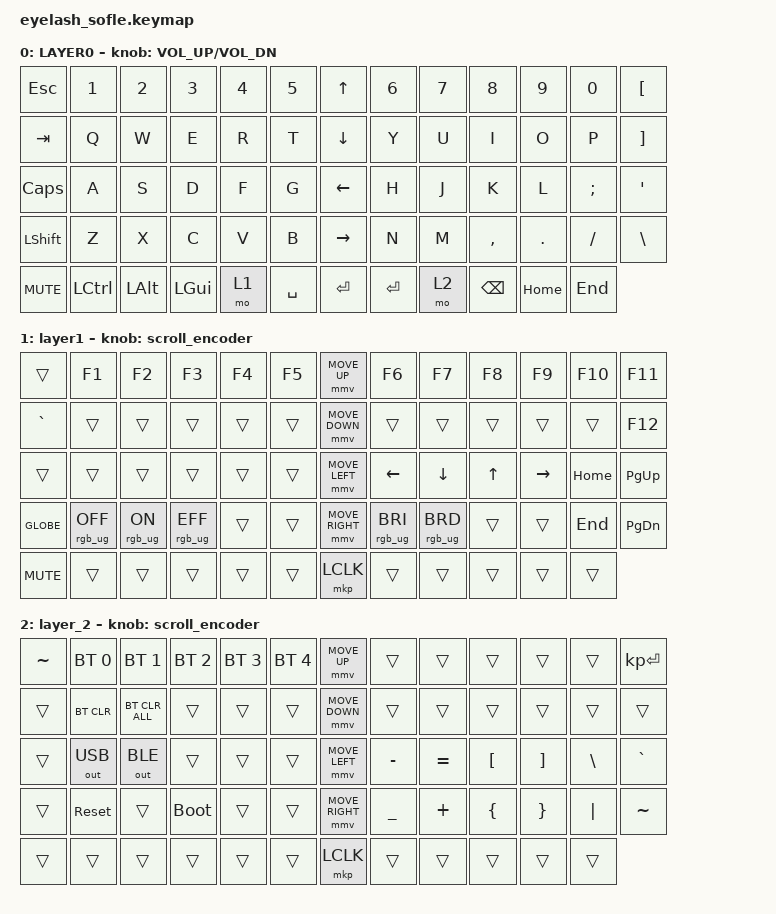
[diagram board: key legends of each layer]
#include <behaviors.dtsi>
#include <dt-bindings/zmk/bt.h>
#include <dt-bindings/zmk/keys.h>
#include <dt-bindings/zmk/mouse.h>
#include <dt-bindings/zmk/outputs.h>
#include <dt-bindings/zmk/rgb.h>

#include <input/processors.dtsi>

/*

   &mmv_input_listener {
       input-processors = <&zip_xy_scaler 2 1>;
   };

   &msc_input_listener {
       input-processors = <&zip_xy_scaler 2 1>;
   };

 */

#define ZMK_MOUSE_DEFAULT_MOVE_VAL 1200  // 600
#define ZMK_MOUSE_DEFAULT_SCRL_VAL 20    // 10


/ {
    behaviors {
        mmv {
            acceleration-exponent = <1>;      // 1
            time-to-max-speed-ms = <900>;    // 40
            delay-ms = <0>;                   // 0
        };

        msc {
            acceleration-exponent = <1>;      // 0
            time-to-max-speed-ms = <400>;      // 500
            delay-ms = <0>;                   //   10
        };
    };

    scroll_encoder: scroll_encoder {
        compatible = "zmk,behavior-sensor-rotate";
        #sensor-binding-cells = <0>;
        bindings = <&msc SCRL_DOWN>, <&msc SCRL_UP>;

        tap-ms = <30>;
    };

    keymap {
        compatible = "zmk,keymap";

        layer0 {
            bindings = <
&kp ESC     &kp N1     &kp N2        &kp N3        &kp N4  &kp N5       &kp UP_ARROW     &kp N6     &kp N7     &kp N8         &kp N9           &kp N0      &kp LBKT
&kp TAB     &kp Q      &kp W         &kp E         &kp R   &kp T        &kp DOWN_ARROW   &kp Y      &kp U      &kp I          &kp O            &kp P       &kp RBKT
&kp CAPS    &kp A      &kp S         &kp D         &kp F   &kp G        &kp LEFT_ARROW   &kp H      &kp J      &kp K          &kp L            &kp SEMI    &kp APOS
&kp LSHFT   &kp Z      &kp X         &kp C         &kp V   &kp B        &kp RIGHT_ARROW  &kp N      &kp M      &kp COMMA      &kp DOT          &kp FSLH    &kp BSLH
&kp C_MUTE  &kp LCTRL  &kp LEFT_ALT  &kp LEFT_GUI  &mo 1   &kp SPACE    &kp ENTER        &kp ENTER  &mo 2      &kp BACKSPACE  &kp HOME         &kp END
            >;

            sensor-bindings = <&inc_dec_kp C_VOLUME_UP C_VOL_DN>;
            display-name = "LAYER0";
        };

        layer_1 {
            bindings = <
&trans      &kp F1          &kp F2         &kp F3          &kp F4   &kp F5   &mmv MOVE_UP    &kp F6          &kp F7          &kp F8      &kp F9      &kp F10   &kp F11
&kp GRAVE   &trans          &trans         &trans          &trans   &trans   &mmv MOVE_DOWN  &trans          &trans          &trans      &trans      &trans    &kp F12
&trans      &trans          &trans         &trans          &trans   &trans   &mmv MOVE_LEFT  &kp LEFT        &kp DOWN        &kp UP      &kp RIGHT   &kp HOME  &kp PG_UP
&kp GLOBE   &rgb_ug RGB_OFF &rgb_ug RGB_ON &rgb_ug RGB_EFF &trans   &trans   &mmv MOVE_RIGHT &rgb_ug RGB_BRI &rgb_ug RGB_BRD &trans      &trans      &kp END   &kp PG_DN
&kp C_MUTE  &trans          &trans         &trans          &trans   &trans   &mkp LCLK       &trans          &trans          &trans      &trans      &trans
            >;

            display-name = "layer1";
            sensor-bindings = <&scroll_encoder>;
        };

        layer_2 {
            bindings = <
&kp TILDE  &bt BT_SEL 0  &bt BT_SEL 1    &bt BT_SEL 2  &bt BT_SEL 3  &bt BT_SEL 4    &mmv MOVE_UP     &trans     &trans     &trans     &trans    &trans     &kp KP_ENTER
&trans     &bt BT_CLR    &bt BT_CLR_ALL  &trans        &trans        &trans          &mmv MOVE_DOWN   &trans     &trans     &trans     &trans    &trans     &trans
&trans     &out OUT_USB  &out OUT_BLE    &trans        &trans        &trans          &mmv MOVE_LEFT   &kp MINUS  &kp EQUAL  &kp LBKT   &kp RBKT  &kp BSLH   &kp GRAVE
&trans     &sys_reset    &trans          &bootloader   &trans        &trans          &mmv MOVE_RIGHT  &kp UNDER  &kp PLUS   &kp LBRC   &kp RBRC  &kp PIPE   &kp TILDE
&trans     &trans        &trans          &trans        &trans        &trans          &mkp LCLK        &trans     &trans     &trans     &trans    &trans
            >;

            sensor-bindings = <&scroll_encoder>;
        };
    };
};
